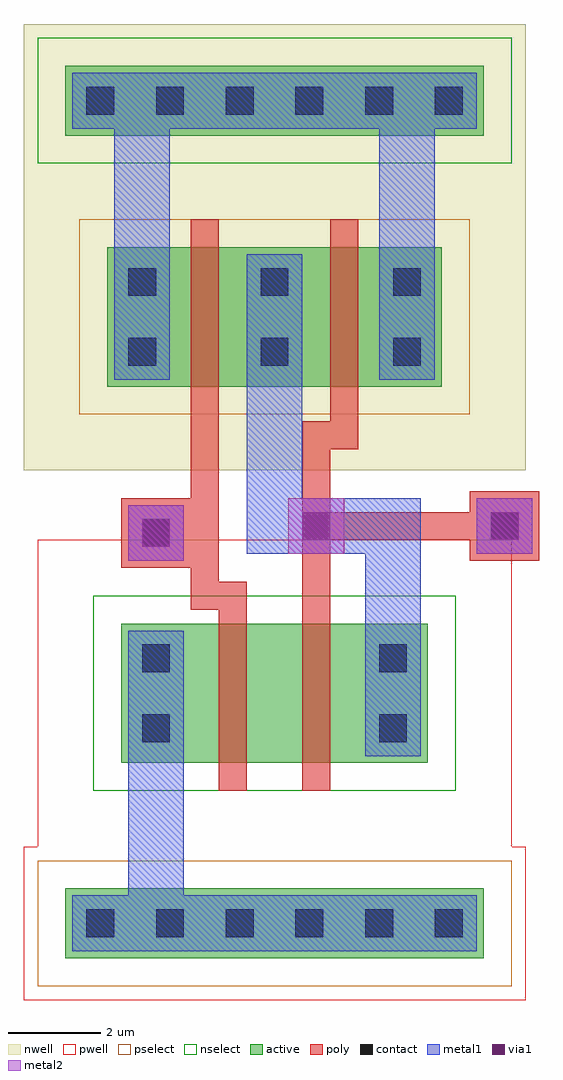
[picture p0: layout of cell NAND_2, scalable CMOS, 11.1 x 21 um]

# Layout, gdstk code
import gdstk
lib = gdstk.Library(unit=1e-6, precision=1e-09)
def R(c, l, rs):  # rectangles x0, y0, x1, y1
    for r in rs: c.add(gdstk.rectangle(r[:2], r[2:], *l))
def A(c, l, x, y, w, h, nx, ny, dx, dy):  # array of equal rectangles
    R(c, l, [(x+i*dx, y+j*dy, x+i*dx+w, y+j*dy+h) for i in range(nx) for j in range(ny)])
contact = (25, 0)
pwell = (41, 0)
nwell = (42, 0)
active = (43, 0)
pselect = (44, 0)
nselect = (45, 0)
poly = (46, 0)
metal1 = (49, 0)
via1 = (50, 0)
metal2 = (51, 0)

nand_2 = lib.new_cell('NAND_2')
A(nand_2, contact, -4.05, -8.85, 0.6, 0.6, 6, 2, 1.5, 17.7)
A(nand_2, contact, -3.15, 3.45, 0.6, 0.6, 3, 2, 2.85, 1.5)
R(nand_2, contact, [(-2.85,-4.65,-2.25,-4.05), (2.25,-4.65,2.85,-4.05), (-2.85,-3.15,-2.25,-2.55), (2.25,-3.15,2.85,-2.55), (-2.85,-0.45,-2.25,0.15), (4.65,-0.3,5.25,0.3)])
R(nand_2, pwell, [(-5.4,-10.2,5.4,-6.9), (-5.1,-6.9,0,-0.3), (-3.9,-6.9,2.1,-0.3), (-2.1,-6.9,3.9,-0.3), (0,-6.9,5.1,-0.3), (-2.475,-6,2.475,-1.5), (-4.8,-5.85,0.225,-1.35), (-0.225,-5.85,4.95,-1.35)])
A(nand_2, nwell, -5.4, 1.2, 5.1, 6.6, 3, 1, 2.85, 0)
R(nand_2, nwell, [(-4.5,1.2,1.5,7.8), (-1.5,1.2,4.5,7.8), (-5.1,2.25,-0.375,6.75), (-2.625,2.25,2.4,6.75), (-2.25,2.25,2.625,6.75), (0.375,2.25,5.1,6.75), (-5.4,7.5,5.4,10.8)])
A(nand_2, active, -3.6, 3, 1.5, 3, 3, 1, 2.85, 0)
R(nand_2, active, [(-4.5,-9.3,4.5,-7.8), (-3.3,-5.1,-1.8,-2.1), (-2.1,-5.1,0.3,-2.1), (-0.3,-5.1,2.1,-2.1), (1.8,-5.1,3.3,-2.1), (-0.675,-4.2,0.675,-3.3), (-3,-4.05,-1.575,-3.15), (1.575,-4.05,3.15,-3.15), (-2.7,3,-0.3,6), (0.3,3,2.7,6), (-3.3,4.05,-2.175,4.95), (-0.825,4.05,0.6,4.95), (-0.45,4.05,0.825,4.95), (2.175,4.05,3.3,4.95), (-4.5,8.4,4.5,9.9)])
A(nand_2, pselect, -4.2, 2.4, 2.7, 4.2, 3, 1, 2.85, 0)
R(nand_2, pselect, [(-5.1,-9.9,5.1,-7.2), (-3.3,2.4,0.3,6.6), (-0.3,2.4,3.3,6.6), (-3.9,3.45,-1.575,5.55), (-1.425,3.45,1.2,5.55), (-1.05,3.45,1.425,5.55), (1.575,3.45,3.9,5.55)])
R(nand_2, nselect, [(-3.9,-5.7,-1.2,-1.5), (-2.7,-5.7,0.9,-1.5), (-0.9,-5.7,2.7,-1.5), (1.2,-5.7,3.9,-1.5), (-1.275,-4.8,1.275,-2.7), (-3.6,-4.65,-0.975,-2.55), (0.975,-4.65,3.75,-2.55), (-5.1,7.8,5.1,10.5)])
R(nand_2, poly, [(-1.2,-5.7,-0.6,-1.5), (0.6,-5.7,1.2,-1.5), (-1.8,-1.8,-0.6,-1.2), (-1.8,-1.8,-1.2,0.15), (0.6,-1.8,1.2,0.3), (-3.3,-0.9,-1.8,0.6), (4.2,-0.75,5.7,0.75), (-2.7,-0.45,-1.5,0.15), (-1.8,-0.45,-1.2,2.7), (0.6,-0.3,1.2,2.25), (0.6,-0.3,5.25,0.3), (0.6,1.65,1.8,2.25), (1.2,1.65,1.8,2.7), (-1.8,2.4,-1.2,6.6), (1.2,2.4,1.8,6.6)])
A(nand_2, metal1, -3.45, 3.15, 1.2, 2.7, 3, 1, 2.85, 0)
R(nand_2, metal1, [(-4.35,-9.15,4.35,-7.95), (-3.15,-9.15,-1.95,-3), (-3.15,-4.95,-1.95,-2.25), (1.95,-4.95,3.15,-2.25), (1.95,-4.2,3.15,0.6), (-3.15,-0.75,-1.95,0.45), (-3.15,-0.75,-1.95,0.45), (-3.15,-0.75,-1.95,0.45), (-0.6,-0.6,0.6,5.1), (-0.6,-0.6,3.15,0.6), (-0.6,-0.6,1.5,0.6), (0.3,-0.6,1.5,0.6), (4.35,-0.6,5.55,0.6), (4.35,-0.6,5.55,0.6), (4.35,-0.6,5.55,0.6), (-3.45,3.9,-2.25,9.75), (2.25,3.9,3.45,9.75), (-4.35,8.55,4.35,9.75)])
R(nand_2, via1, [(-2.85,-0.45,-2.25,0.15), (0.6,-0.3,1.2,0.3), (4.65,-0.3,5.25,0.3)])
R(nand_2, metal2, [(-3.15,-0.75,-1.95,0.45), (0.3,-0.6,1.5,0.6), (4.35,-0.6,5.55,0.6)])

lib.write_gds('NAND_2.gds')
